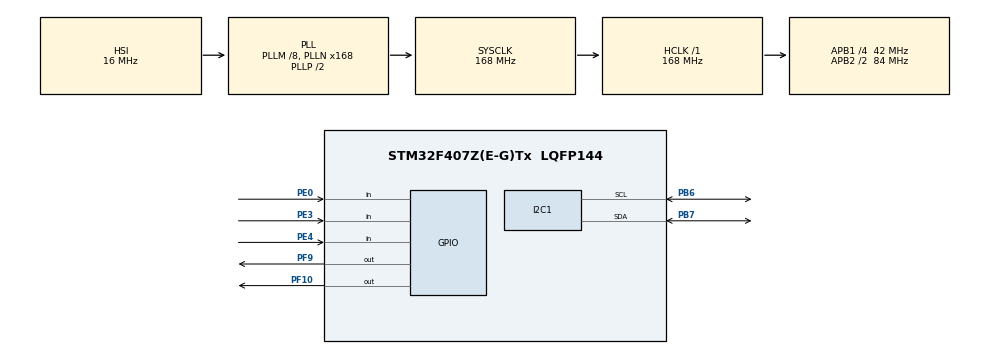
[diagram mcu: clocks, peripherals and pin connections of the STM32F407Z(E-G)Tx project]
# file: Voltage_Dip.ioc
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I2C1.I2C_Mode=I2C_Standard
Mcu.Family=STM32F4
Mcu.Name=STM32F407Z(E-G)Tx
Mcu.Package=LQFP144
NVIC.PriorityGroup=NVIC_PRIORITYGROUP_4
NVIC.TIM2_IRQn=true\:1\:0\:true\:false\:true\:true\:true\:true
PA13.Mode=Serial_Wire
PA13.Signal=SYS_JTMS-SWDIO
PA14.Mode=Serial_Wire
PA14.Signal=SYS_JTCK-SWCLK
PB6.Mode=I2C
PB6.Signal=I2C1_SCL
PB7.Mode=I2C
PB7.Signal=I2C1_SDA
PC14-OSC32_IN.Mode=LSE-External-Oscillator
PC14-OSC32_IN.Signal=RCC_OSC32_IN
PC15-OSC32_OUT.Mode=LSE-External-Oscillator
PC15-OSC32_OUT.Signal=RCC_OSC32_OUT
PE0.GPIO_PuPd=GPIO_PULLUP
PE0.Signal=GPIO_Input
PE3.GPIO_PuPd=GPIO_PULLUP
PE3.Signal=GPIO_Input
PE4.GPIO_PuPd=GPIO_PULLUP
PE4.Signal=GPIO_Input
PF10.Signal=GPIO_Output
PF9.Signal=GPIO_Output
PH0-OSC_IN.Mode=HSE-External-Oscillator
PH0-OSC_IN.Signal=RCC_OSC_IN
PH1-OSC_OUT.Mode=HSE-External-Oscillator
PH1-OSC_OUT.Signal=RCC_OSC_OUT
ProjectManager.HeapSize=0x200
ProjectManager.StackSize=0x400
ProjectManager.TargetToolchain=MDK-ARM V5
RCC.48MHZClocksFreq_Value=84000000
RCC.AHBFreq_Value=168000000
RCC.APB1CLKDivider=RCC_HCLK_DIV4
RCC.APB1Freq_Value=42000000
RCC.APB1TimFreq_Value=84000000
RCC.APB2CLKDivider=RCC_HCLK_DIV2
RCC.APB2Freq_Value=84000000
RCC.APB2TimFreq_Value=168000000
RCC.CortexFreq_Value=168000000
RCC.HCLKFreq_Value=168000000
RCC.HSE_VALUE=25000000
RCC.HSI_VALUE=16000000
RCC.PLLM=8
RCC.PLLN=168
RCC.SYSCLKFreq_VALUE=168000000
RCC.SYSCLKSource=RCC_SYSCLKSOURCE_PLLCLK
RCC.VCOOutputFreq_Value=336000000
TIM1.AutoReloadPreload=TIM_AUTORELOAD_PRELOAD_ENABLE
TIM1.Period=10000
TIM1.Prescaler=1680
TIM2.AutoReloadPreload=TIM_AUTORELOAD_PRELOAD_ENABLE
TIM2.Period=1000
TIM2.Prescaler=8400
VP_TIM1_VS_ClockSourceINT.Mode=Internal
VP_TIM2_VS_ClockSourceINT.Mode=Internal
board=custom

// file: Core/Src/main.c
/* USER CODE BEGIN Header */
/**
  ******************************************************************************
  * @file           : main.c
  * @brief          : Main program body
  ******************************************************************************
  * @attention
  *
  * Copyright (c) 2024 STMicroelectronics.
  * All rights reserved.
  *
  * This software is licensed under terms that can be found in the LICENSE file
  * in the root directory of this software component.
  * If no LICENSE file comes with this software, it is provided AS-IS.
  *
  ******************************************************************************
  */
/* USER CODE END Header */
#include "main.h"
#include "i2c.h"
#include "tim.h"
#include "gpio.h"

/* USER CODE BEGIN Includes */
#include "key.h"
#include "OLED.h"
/* USER CODE END Includes */

/* USER CODE BEGIN PV */
extern TIM_HandleTypeDef htim2;
extern TIM_HandleTypeDef htim1;
int   gVoltageDip_time = 10;
char  gStartFlag       = 0 ;

/* USER CODE END PV */

void SystemClock_Config(void);
/* USER CODE BEGIN PFP */
void Set_Dip_time(int16_t time);
/* USER CODE END PFP */

int main(void)
{
  /* USER CODE BEGIN 1 */
  uint8_t ucKey = 0;
  /* USER CODE END 1 */

  /* MCU Configuration--------------------------------------------------------*/

  /* Reset of all peripherals, Initializes the Flash interface and the Systick. */
  HAL_Init();

  /* Configure the system clock */
  SystemClock_Config();

  /* Initialize all configured peripherals */
  MX_GPIO_Init();
  MX_TIM1_Init();
  MX_TIM2_Init();
  MX_I2C1_Init();
  /* USER CODE BEGIN 2 */
  OLED_Init();
  OLED_CLS();
  /* 启用外部中断按键 */
  HAL_GPIO_WritePin(GPIOF,GPIO_PIN_9,GPIO_PIN_SET);
  /* USER CODE END 2 */

  /* Infinite loop */
  while (1)
  {

    /* USER CODE BEGIN 3 */
    ucKey = key_scan(0);
    if(ucKey)
    {
        switch (ucKey)
        {
        case WKUP_PRES:
        /*start key:set start flag*/
        gStartFlag = 1;
        /*oled dispay*/

          break;
        case KEY0_PRES:
        /*add time value*/
        gVoltageDip_time++;
        /*oled dispay*/
        Set_Dip_time(gVoltageDip_time);
          break;
        case KEY1_PRES:
        /*decrease time value*/
        gVoltageDip_time--;
        /*oled dispay*/
        Set_Dip_time(gVoltageDip_time);
          break;
        default:
          break;
        }
    }
    if(gStartFlag == 1)
      HAL_TIM_Base_Start_IT(&htim2);
    else
      HAL_TIM_Base_Stop_IT(&htim2);
  }
  /* USER CODE END 3 */
}

void SystemClock_Config(void)
{
  RCC_OscInitTypeDef RCC_OscInitStruct = {0};
  RCC_ClkInitTypeDef RCC_ClkInitStruct = {0};

  /** Configure the main internal regulator output voltage
  */
  __HAL_RCC_PWR_CLK_ENABLE();
  __HAL_PWR_VOLTAGESCALING_CONFIG(PWR_REGULATOR_VOLTAGE_SCALE1);

  /** Initializes the RCC Oscillators according to the specified parameters
  * in the RCC_OscInitTypeDef structure.
  */
  RCC_OscInitStruct.OscillatorType = RCC_OSCILLATORTYPE_HSI;
  RCC_OscInitStruct.HSIState = RCC_HSI_ON;
  RCC_OscInitStruct.HSICalibrationValue = RCC_HSICALIBRATION_DEFAULT;
  RCC_OscInitStruct.PLL.PLLState = RCC_PLL_ON;
  RCC_OscInitStruct.PLL.PLLSource = RCC_PLLSOURCE_HSI;
  RCC_OscInitStruct.PLL.PLLM = 8;
  RCC_OscInitStruct.PLL.PLLN = 168;
  RCC_OscInitStruct.PLL.PLLP = RCC_PLLP_DIV2;
  RCC_OscInitStruct.PLL.PLLQ = 4;
  if (HAL_RCC_OscConfig(&RCC_OscInitStruct) != HAL_OK)
  {
    Error_Handler();
  }

  /** Initializes the CPU, AHB and APB buses clocks
  */
  RCC_ClkInitStruct.ClockType = RCC_CLOCKTYPE_HCLK|RCC_CLOCKTYPE_SYSCLK
                              |RCC_CLOCKTYPE_PCLK1|RCC_CLOCKTYPE_PCLK2;
  RCC_ClkInitStruct.SYSCLKSource = RCC_SYSCLKSOURCE_PLLCLK;
  RCC_ClkInitStruct.AHBCLKDivider = RCC_SYSCLK_DIV1;
  RCC_ClkInitStruct.APB1CLKDivider = RCC_HCLK_DIV4;
  RCC_ClkInitStruct.APB2CLKDivider = RCC_HCLK_DIV2;

  if (HAL_RCC_ClockConfig(&RCC_ClkInitStruct, FLASH_LATENCY_5) != HAL_OK)
  {
    Error_Handler();
  }
}

/* USER CODE BEGIN 4 */
void Set_Dip_time(int16_t time)
{
  OLED_Refresh(80,0,128,2);
  OLED_ShowStr(0,0,"Set_time",2);
  OLED_ShowNumber(80,0,time,2);

}
/* USER CODE END 4 */

void Error_Handler(void)
{
  __disable_irq();
  while (1)
  {
  }
}
